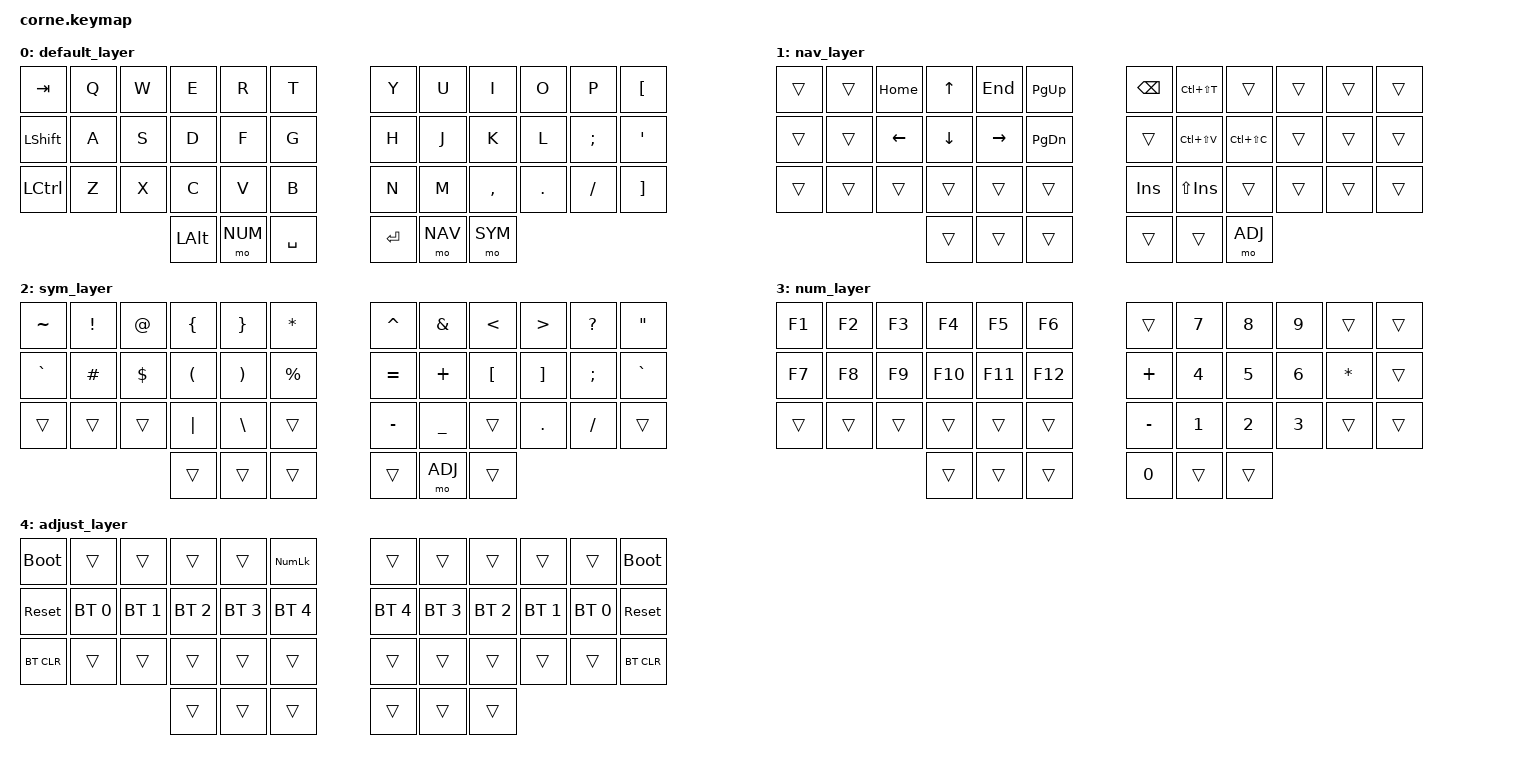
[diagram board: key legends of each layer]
/*
 * Copyright (c) 2020 The ZMK Contributors
 *
 * SPDX-License-Identifier: MIT
 */

#include <behaviors.dtsi>
#include <dt-bindings/zmk/keys.h>
#include <dt-bindings/zmk/bt.h>
#include <dt-bindings/zmk/rgb.h>

// Номера слоёв
#define DEF 0
#define NAV 1
#define SYM 2
#define NUM 3
#define ADJ 4

// ----------------------------------------------------------------
// Общие настройки hold-tap
// ----------------------------------------------------------------
&lt { quick-tap-ms = <175>; };
&mt { quick-tap-ms = <175>; };

/ {
    behaviors {
        // Определение сохранено, но в текущих биндах не используется.
        // Формат: &hm МОДИФИКАТОР БУКВА
        // Например: &hm LCTRL F
        hm: homerow_mods {
            compatible = "zmk,behavior-hold-tap";
            #binding-cells = <2>;
            tapping-term-ms = <280>;
            quick-tap-ms = <175>;
            require-prior-idle-ms = <150>;
            flavor = "balanced";
            bindings = <&kp>, <&kp>;
        };
    };

    // ----------------------------------------------------------------
    // Комбо — позиции и действия сохранены из последнего конфига.
    // ----------------------------------------------------------------
    combos {
        compatible = "zmk,combos";

        // J + K = Escape
        combo_ESC {
            timeout-ms = <50>;
            key-positions = <19 20>;
            bindings = <&kp ESC>;
        };

        // R + T = Backspace
        // Дополнительный Backspace также назначен на NAV + Y.
        combo_BS {
            timeout-ms = <50>;
            key-positions = <4 5>;
            bindings = <&kp BSPC>;
        };

        // V + B = Delete
        combo_Del {
            timeout-ms = <50>;
            key-positions = <28 29>;
            bindings = <&kp DEL>;
        };

        // A + S = Caps Word
        combo_CAPSWORD {
            timeout-ms = <50>;
            key-positions = <13 14>;
            bindings = <&caps_word>;
        };
    };

    keymap {
        compatible = "zmk,keymap";

        // ============================================================
        // 0 — DEFAULT: основной слой
        //
        // Буквы — обычные нажатия, без home-row mods.
        //
        // Нижний ряд слева направо:
        // LALT, NUM, SPACE, ENTER, NAV, SYM.
        //
        // NUM — средняя левая большая клавиша.
        // NAV — средняя правая большая клавиша.
        // SYM — крайняя правая большая клавиша.
        // ============================================================
        default_layer {
// .-----------------------------------------------.   .-----------------------------------------------.
// |  TAB  | Q / й | W / ц | E / у | R / к | T / е |   | Y / н | U / г | I / ш | O / щ | P / з | [ / х |
// |-------+-------+-------+-------+-------+-------|   |-------+-------+-------+-------+-------+-------|
// | LSHFT | A / ф | S / ы | D / в | F / а | G / п |   | H / р | J / о | K / л | L / д | ; / ж | ' / э |
// |-------+-------+-------+-------+-------+-------|   |-------+-------+-------+-------+-------+-------|
// | LCTRL | Z / я | X / ч | C / с | V / м | B / и |   | N / т | M / ь | , / б | . / ю | / / . | ] / ъ |
// '-----------------------+-------+-------+-------'   '-------+-------+-------+-----------------------'
//                         | LALT  |  NUM  | SPACE |   | ENTER |  NAV  |  SYM  |
//                         '-------+-------+-------'   '-------+-------+-------'
            bindings = <
  &kp TAB  &kp Q  &kp W  &kp E  &kp R  &kp T      &kp Y  &kp U  &kp I      &kp O    &kp P     &kp LBKT
  &kp LSHFT    &kp A  &kp S  &kp D  &kp F  &kp G      &kp H  &kp J  &kp K      &kp L    &kp SEMI  &kp SQT
  &kp LCTRL  &kp Z  &kp X  &kp C  &kp V  &kp B      &kp N  &kp M  &kp COMMA  &kp DOT  &kp FSLH  &kp RBKT
                         &kp LALT  &mo NUM  &kp SPACE      &kp ENTER  &mo NAV  &mo SYM
            >;
        };

        // ============================================================
        // 1 — NAV: навигация
        //
        // Удерживать NAV — среднюю правую большую клавишу.
        // NAV + Y / Н = Backspace.
        //
        // Для ADJ: удерживать NAV и нажать SYM
        // (крайнюю правую большую клавишу).
        //
        // Пустые клетки (&trans) пропускают действие нижнего слоя.
        // ============================================================
        nav_layer {
// .-----------------------------------------------.   .-----------------------------------------------.
// |       |       | HOME  |  UP   |  END  | PG UP |   | BSPC  | C+S+T |       |       |       |       |
// |-------+-------+-------+-------+-------+-------|   |-------+-------+-------+-------+-------+-------|
// |       |       | LEFT  | DOWN  | RIGHT | PG DN |   |       | C+S+V | C+S+C |       |       |       |
// |-------+-------+-------+-------+-------+-------|   |-------+-------+-------+-------+-------+-------|
// |       |       |       |       |       |       |   |  INS  | S+INS |       |       |       |       |
// '-----------------------+-------+-------+-------'   '-------+-------+-------+-----------------------'
//                         |       |       |       |   |       |       |  ADJ  |
//                         '-------+-------+-------'   '-------+-------+-------'
            bindings = <
  &trans  &trans     &kp HOME  &kp UP    &kp END    &kp PG_UP      &kp BSPC  &kp LC(LS(T))  &trans         &trans  &trans  &trans
  &trans  &trans     &kp LEFT  &kp DOWN  &kp RIGHT  &kp PG_DN      &trans    &kp LC(LS(V))  &kp LC(LS(C))  &trans  &trans  &trans
  &trans  &trans     &trans    &trans    &trans     &trans         &kp INS   &kp LS(INS)    &trans         &trans  &trans  &trans
                               &trans    &trans     &trans         &trans    &trans         &mo ADJ
            >;
        };

        // ============================================================
        // 2 — SYM: символы
        //
        // Удерживать SYM — крайнюю правую большую клавишу.
        //
        // Для ADJ: удерживать SYM и нажать NAV
        // (среднюю правую большую клавишу).
        //
        // На схеме символы для английской раскладки ОС.
        // PIPE = вертикальная черта, BSLH = обратная косая черта.
        // ============================================================
        sym_layer {
// .-----------------------------------------------.   .-----------------------------------------------.
// |   ~   |   !   |   @   |   {   |   }   |   *   |   |   ^   |   &   |   <   |   >   |   ?   |   "   |
// |-------+-------+-------+-------+-------+-------|   |-------+-------+-------+-------+-------+-------|
// | ` / ё |   #   |   $   |   (   |   )   |   %   |   |   =   |   +   |   [   |   ]   |   ;   |   `   |
// |-------+-------+-------+-------+-------+-------|   |-------+-------+-------+-------+-------+-------|
// |       |       |       | PIPE  | BSLH  |       |   |   -   |   _   |       |   .   |   /   |       |
// '-----------------------+-------+-------+-------'   '-------+-------+-------+-----------------------'
//                         |       |       |       |   |       |  ADJ  |       |
//                         '-------+-------+-------'   '-------+-------+-------'
            bindings = <
  &kp TILDE  &kp EXCL  &kp AT    &kp LBRC  &kp RBRC  &kp STAR       &kp CARET  &kp AMPS   &kp LT     &kp GT    &kp QMARK  &kp DQT
  &kp GRAVE  &kp HASH  &kp DLLR  &kp LPAR  &kp RPAR  &kp PRCNT      &kp EQUAL  &kp PLUS   &kp LBKT   &kp RBKT  &kp SEMI   &kp GRAVE
  &trans     &trans    &trans    &kp PIPE  &kp BSLH  &trans         &kp MINUS  &kp UNDER  &trans     &kp DOT   &kp FSLH   &trans
                                 &trans    &trans    &trans         &trans     &mo ADJ    &trans
            >;
        };

        // ============================================================
        // 3 — NUM: F-клавиши слева, цифровой блок справа
        //
        // Удерживать NUM — среднюю левую большую клавишу.
        //
        // U = 7, I = 8, O = 9
        // J = 4, K = 5, L = 6
        // M = 1, COMMA = 2, DOT = 3
        // ENTER = 0
        //
        // Операторы сохранены на прежних физических позициях:
        // H = плюс, N = минус, SEMI = умножение.
        // ============================================================
        num_layer {
// .-----------------------------------------------.   .-----------------------------------------------.
// |  F1   |  F2   |  F3   |  F4   |  F5   |  F6   |   |       |   7   |   8   |   9   |       |       |
// |-------+-------+-------+-------+-------+-------|   |-------+-------+-------+-------+-------+-------|
// |  F7   |  F8   |  F9   |  F10  |  F11  |  F12  |   |   +   |   4   |   5   |   6   |   *   |       |
// |-------+-------+-------+-------+-------+-------|   |-------+-------+-------+-------+-------+-------|
// |       |       |       |       |       |       |   |   -   |   1   |   2   |   3   |       |       |
// '-----------------------+-------+-------+-------'   '-------+-------+-------+-----------------------'
//                         |       |       |       |   |   0   |       |       |
//                         '-------+-------+-------'   '-------+-------+-------'
            bindings = <
  &kp F1  &kp F2  &kp F3  &kp F4   &kp F5   &kp F6       &trans     &kp N7  &kp N8  &kp N9  &trans    &trans
  &kp F7  &kp F8  &kp F9  &kp F10  &kp F11  &kp F12      &kp PLUS   &kp N4  &kp N5  &kp N6  &kp STAR  &trans
  &trans  &trans  &trans  &trans   &trans   &trans        &kp MINUS  &kp N1  &kp N2  &kp N3  &trans    &trans
                          &trans   &trans   &trans        &kp N0     &trans  &trans
            >;
        };

        // ============================================================
        // 4 — ADJ: Bluetooth и обслуживание
        //
        // Как открыть:
        // 1. Зажать NAV — среднюю правую большую клавишу.
        // 2. Не отпуская NAV, зажать SYM — крайнюю правую.
        //
        // BT1..BT5 — выбор Bluetooth-профиля.
        // BT CLR — очистка сопряжения выбранного профиля.
        //
        // NAV + SYM + A / Ф = выбрать первый профиль.
        // NAV + SYM + левый Shift = очистить выбранный профиль.
        //
        // BOOT  — загрузчик для прошивки.
        // RESET — перезагрузка контроллера.
        // ============================================================
        adjust_layer {
// .-----------------------------------------------.   .-----------------------------------------------.
// | BOOT  |       |       |       |       | NUMLK |   |       |       |       |       |       | BOOT  |
// |-------+-------+-------+-------+-------+-------|   |-------+-------+-------+-------+-------+-------|
// | RESET |  BT1  |  BT2  |  BT3  |  BT4  |  BT5  |   |  BT5  |  BT4  |  BT3  |  BT2  |  BT1  | RESET |
// |-------+-------+-------+-------+-------+-------|   |-------+-------+-------+-------+-------+-------|
// |BT CLR |       |       |       |       |       |   |       |       |       |       |       |BT CLR |
// '-----------------------+-------+-------+-------'   '-------+-------+-------+-----------------------'
//                         |       |       |       |   |       |       |       |
//                         '-------+-------+-------'   '-------+-------+-------'
            bindings = <
  &bootloader  &trans        &trans        &trans        &trans        &kp KP_NUM      &trans        &trans        &trans        &trans        &trans        &bootloader
  &sys_reset   &bt BT_SEL 0  &bt BT_SEL 1  &bt BT_SEL 2  &bt BT_SEL 3  &bt BT_SEL 4    &bt BT_SEL 4  &bt BT_SEL 3  &bt BT_SEL 2  &bt BT_SEL 1  &bt BT_SEL 0  &sys_reset
  &bt BT_CLR   &trans        &trans        &trans        &trans        &trans          &trans        &trans        &trans        &trans        &trans        &bt BT_CLR
                                           &trans        &trans        &trans          &trans        &trans        &trans
            >;
        };
    };
};
